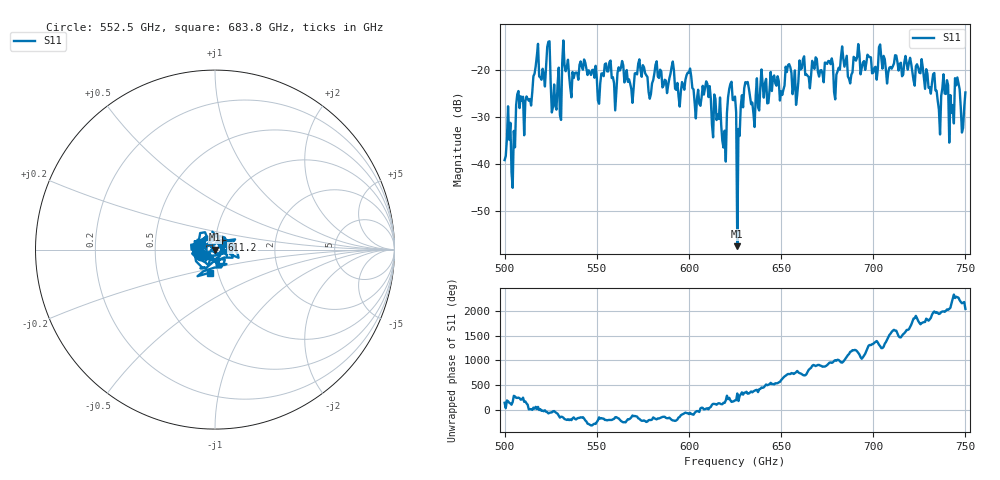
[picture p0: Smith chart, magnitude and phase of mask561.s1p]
!Created with skrf (http://scikit-rf.org).
# GHz S MA R 50.0
!freq magS11 angS11
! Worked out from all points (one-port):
!   401 points, 500 GHz to 750 GHz, reference 50 ohm
!   lowest |S11| = -57.6 dB at 626.2 GHz (marker M1), VSWR 1.00, Z = 50.1 - j0.0497 ohm
!   |S11| at or under -10 dB: start of sweep to end of sweep
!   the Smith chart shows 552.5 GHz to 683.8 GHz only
!   S11 on the Smith chart (normalised r, x): 552.5 GHz: 0.85, -0.07; 611.2 GHz: 1.07, +0.12; 683.8 GHz: 0.92, -0.24
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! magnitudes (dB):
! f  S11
! 500 GHz  -39.2
! 504.4 GHz  -45.2
! 507.5 GHz  -24.5
! 511.9 GHz  -25.7
! 516.9 GHz  -19.2
! 523.8 GHz  -14.0
! 526.9 GHz  -23.1
! 531.2 GHz  -18.5
! 552.5 GHz  -20.8
! 562.5 GHz  -20.2
! 593.8 GHz  -22.8
! 600 GHz  -20.6
! 611.2 GHz  -23.5
! 618.8 GHz  -36.6
! 623.1 GHz  -22.6
! 625 GHz  -25.7
! 626.2 GHz  -57.6
! 631.2 GHz  -22.9
! 635 GHz  -29.3
! 656.2 GHz  -25.2
! 683.8 GHz  -17.6
! 687.5 GHz  -22.9
! 718.8 GHz  -20.0
! 735.6 GHz  -28.5
! 739.4 GHz  -25.2
! 742.5 GHz  -29.2
! 745.6 GHz  -21.6
! 750 GHz  -24.8
